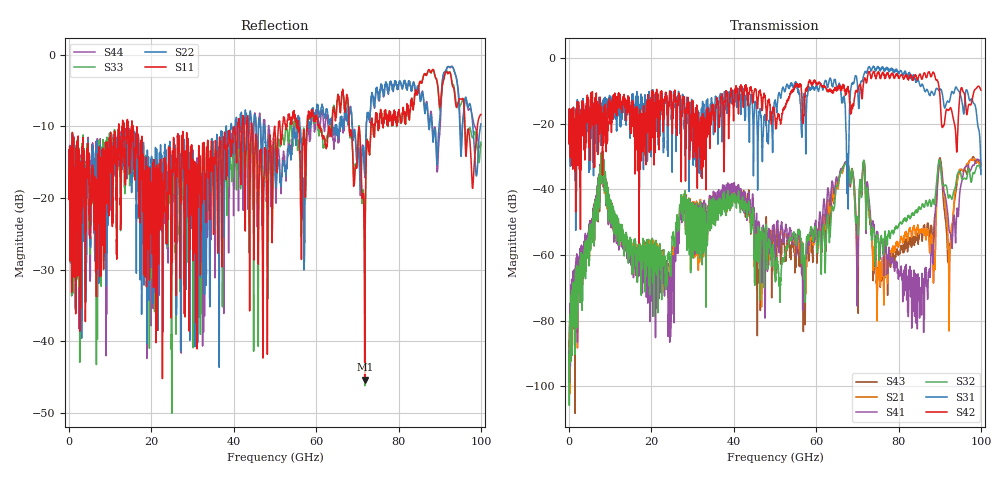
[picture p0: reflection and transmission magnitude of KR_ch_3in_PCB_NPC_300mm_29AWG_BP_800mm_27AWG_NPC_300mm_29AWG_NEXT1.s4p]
# GHz S RI R 45
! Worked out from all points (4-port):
!   4000 points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, 25 MHz to 100 GHz, reference 45 ohm
!   strongest paths, dB at 25 MHz, 25.02 GHz, 50.02 GHz, 75.03 GHz, 100 GHz:
!     S42: -20.6, -18.0, -18.0, -4.3, -9.8
!     S31: -20.6, -34.8, -12.8, -2.5, -35.5
!     S32: -90.4, -54.6, -64.5, -55.4, -34.3
!     S41: -89.3, -62.0, -62.0, -54.3, -31.9
!     S21: -90.5, -58.6, -58.7, -64.1, -32.8
!     S43: -92.0, -58.7, -55.7, -63.9, -32.3
!   lowest |S11| = -45.3 dB at 71.8 GHz (marker M1), VSWR 1.01, Z = 45.2 + j0.436 ohm
!   |S11| at or under -10 dB: start of sweep to 12.05 GHz; 15.53 GHz to 40.98 GHz (25.45 GHz wide, 90.1 % of centre); 44.43 GHz to 49.9 GHz (5.468 GHz wide, 11.6 % of centre)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
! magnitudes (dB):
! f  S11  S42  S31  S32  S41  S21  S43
! 25 MHz  -16.1  -20.6  -20.6  -90.4  -89.3  -90.5  -92.0
! 8.025 GHz  -17.2  -26.6  -17.9  -31.2  -31.0  -31.6  -30.5
! 24.48 GHz  -14.3  -10.7  -10.9  -61.7  -77.8  -71.2  -67.4
! 71.8 GHz  -45.3  -6.0  -4.2  -34.2  -33.6  -34.2  -33.6
! 85.8 GHz  -3.6  -6.2  -8.1  -44.4  -68.3  -53.1  -54.9
! 90 GHz  -7.3  -10.7  -9.8  -30.9  -31.4  -31.7  -30.5
! 100 GHz  -8.3  -9.8  -35.5  -34.3  -31.9  -32.8  -32.3
